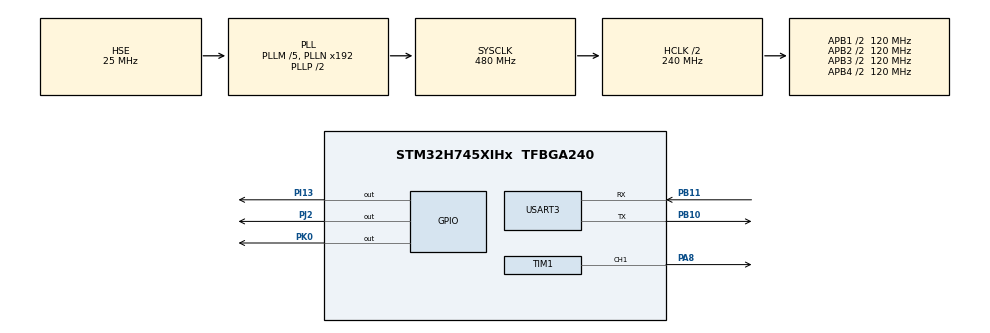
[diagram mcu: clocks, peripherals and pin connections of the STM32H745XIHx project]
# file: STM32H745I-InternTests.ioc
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CORTEX_M7.AccessPermission-Cortex_Memory_Protection_Unit_Region0_Settings=MPU_REGION_FULL_ACCESS
CORTEX_M7.BaseAddress-Cortex_Memory_Protection_Unit_Region0_Settings=0x30000420
CORTEX_M7.CPU_DCache=Enabled
CORTEX_M7.CPU_ICache=Enabled
CORTEX_M7.DisableExec-Cortex_Memory_Protection_Unit_Region0_Settings=MPU_INSTRUCTION_ACCESS_DISABLE
CORTEX_M7.Enable-Cortex_Memory_Protection_Unit_Region0_Settings=MPU_REGION_ENABLE
CORTEX_M7.IsBufferable-Cortex_Memory_Protection_Unit_Region0_Settings=MPU_ACCESS_BUFFERABLE
CORTEX_M7.IsShareable-Cortex_Memory_Protection_Unit_Region0_Settings=MPU_ACCESS_SHAREABLE
CORTEX_M7.MPU_Control=MPU_PRIVILEGED_DEFAULT
CORTEX_M7.Size-Cortex_Memory_Protection_Unit_Region0_Settings=MPU_REGION_SIZE_256MB
CORTEX_M7.SubRegionDisable-Cortex_Memory_Protection_Unit_Region0_Settings=0x0
CortexM4.IPs=FATFS_M4\:I,FREERTOS_M4\:I,IWDG2\:I,RCC,USB_DEVICE_M4\:I,USB_HOST_M4\:I,WWDG2\:I,DMA,BDMA,MDMA,NVIC2\:I,DEBUG,PDM2PCM_M4\:I,PWR,RESMGR_UTILITY,SYS_M4\:I,CORTEX_M4\:I,GPIO,OPENAMP_M4\:I,VREFBUF
CortexM7.IPs=FATFS_M7\:I,FREERTOS_M7\:I,IWDG1\:I,RCC\:I,USB_DEVICE_M7\:I,USB_HOST_M7\:I,WWDG1\:I,DMA\:I,BDMA\:I,MDMA\:I,NVIC1\:I,CORTEX_M7\:I,DEBUG\:I,PDM2PCM_M7\:I,PWR\:I,RESMGR_UTILITY\:I,SYS\:I,GPIO\:I,OPENAMP_M7\:I,VREFBUF\:I,TIM5\:I,USART3\:I,TIM4\:I,TIM1\:I,RTC\:I
CortexM7.Pins=PI13,PJ2
Dma.MEMTOMEM.0.Direction=DMA_MEMORY_TO_MEMORY
Dma.MEMTOMEM.0.EventEnable=DISABLE
Dma.MEMTOMEM.0.FIFOMode=DMA_FIFOMODE_ENABLE
Dma.MEMTOMEM.0.FIFOThreshold=DMA_FIFO_THRESHOLD_FULL
Dma.MEMTOMEM.0.Instance=DMA2_Stream0
Dma.MEMTOMEM.0.MemBurst=DMA_MBURST_SINGLE
Dma.MEMTOMEM.0.MemDataAlignment=DMA_MDATAALIGN_WORD
Dma.MEMTOMEM.0.MemInc=DMA_MINC_ENABLE
Dma.MEMTOMEM.0.Mode=DMA_NORMAL
Dma.MEMTOMEM.0.PeriphBurst=DMA_PBURST_SINGLE
Dma.MEMTOMEM.0.PeriphDataAlignment=DMA_PDATAALIGN_WORD
Dma.MEMTOMEM.0.PeriphInc=DMA_PINC_ENABLE
Dma.MEMTOMEM.0.Polarity=HAL_DMAMUX_REQ_GEN_RISING
Dma.MEMTOMEM.0.Priority=DMA_PRIORITY_HIGH
Dma.MEMTOMEM.0.RequestNumber=1
Dma.MEMTOMEM.0.SignalID=NONE
Dma.MEMTOMEM.0.SyncEnable=DISABLE
Dma.MEMTOMEM.0.SyncPolarity=HAL_DMAMUX_SYNC_NO_EVENT
Dma.MEMTOMEM.0.SyncRequestNumber=1
Dma.MEMTOMEM.0.SyncSignalID=NONE
Dma.MEMTOMEM.1.Direction=DMA_MEMORY_TO_MEMORY
Dma.MEMTOMEM.1.EventEnable=DISABLE
Dma.MEMTOMEM.1.FIFOMode=DMA_FIFOMODE_ENABLE
Dma.MEMTOMEM.1.FIFOThreshold=DMA_FIFO_THRESHOLD_FULL
Dma.MEMTOMEM.1.Instance=DMA2_Stream1
Dma.MEMTOMEM.1.MemBurst=DMA_MBURST_SINGLE
Dma.MEMTOMEM.1.MemDataAlignment=DMA_MDATAALIGN_WORD
Dma.MEMTOMEM.1.MemInc=DMA_MINC_ENABLE
Dma.MEMTOMEM.1.Mode=DMA_NORMAL
Dma.MEMTOMEM.1.PeriphBurst=DMA_PBURST_SINGLE
Dma.MEMTOMEM.1.PeriphDataAlignment=DMA_PDATAALIGN_WORD
Dma.MEMTOMEM.1.PeriphInc=DMA_PINC_ENABLE
Dma.MEMTOMEM.1.Polarity=HAL_DMAMUX_REQ_GEN_RISING
Dma.MEMTOMEM.1.Priority=DMA_PRIORITY_HIGH
Dma.MEMTOMEM.1.RequestNumber=1
Dma.MEMTOMEM.1.SignalID=NONE
Dma.MEMTOMEM.1.SyncEnable=DISABLE
Dma.MEMTOMEM.1.SyncPolarity=HAL_DMAMUX_SYNC_NO_EVENT
Dma.MEMTOMEM.1.SyncRequestNumber=1
Dma.MEMTOMEM.1.SyncSignalID=NONE
Dma.Request0=MEMTOMEM
Dma.Request1=MEMTOMEM
Dma.Request2=TIM1_CH1
Dma.TIM1_CH1.2.Direction=DMA_MEMORY_TO_PERIPH
Dma.TIM1_CH1.2.EventEnable=DISABLE
Dma.TIM1_CH1.2.FIFOMode=DMA_FIFOMODE_DISABLE
Dma.TIM1_CH1.2.Instance=DMA2_Stream2
Dma.TIM1_CH1.2.MemDataAlignment=DMA_MDATAALIGN_HALFWORD
Dma.TIM1_CH1.2.MemInc=DMA_MINC_ENABLE
Dma.TIM1_CH1.2.Mode=DMA_NORMAL
Dma.TIM1_CH1.2.PeriphDataAlignment=DMA_PDATAALIGN_HALFWORD
Dma.TIM1_CH1.2.PeriphInc=DMA_PINC_DISABLE
Dma.TIM1_CH1.2.Polarity=HAL_DMAMUX_REQ_GEN_RISING
Dma.TIM1_CH1.2.Priority=DMA_PRIORITY_LOW
Dma.TIM1_CH1.2.RequestNumber=1
Dma.TIM1_CH1.2.SignalID=NONE
Dma.TIM1_CH1.2.SyncEnable=DISABLE
Dma.TIM1_CH1.2.SyncPolarity=HAL_DMAMUX_SYNC_NO_EVENT
Dma.TIM1_CH1.2.SyncRequestNumber=1
Dma.TIM1_CH1.2.SyncSignalID=NONE
Mcu.Family=STM32H7
Mcu.Name=STM32H745XIHx
Mcu.Package=TFBGA240
NVIC1.DMA2_Stream0_IRQn=true\:0\:0\:false\:false\:true\:true\:true\:true
NVIC1.DMA2_Stream1_IRQn=true\:0\:0\:false\:false\:true\:true\:true\:true
NVIC1.DMA2_Stream2_IRQn=true\:0\:0\:false\:false\:true\:false\:true\:true
NVIC1.PriorityGroup=NVIC_PRIORITYGROUP_4
NVIC1.RTC_Alarm_IRQn=true\:0\:0\:false\:false\:true\:true\:true\:true
NVIC1.TIM1_UP_IRQn=true\:0\:0\:false\:false\:true\:true\:true\:true
NVIC1.TIM4_IRQn=true\:0\:0\:false\:false\:true\:true\:true\:true
NVIC1.TIM5_IRQn=true\:0\:0\:false\:false\:true\:true\:true\:true
NVIC1.USART3_IRQn=true\:0\:0\:false\:false\:true\:true\:true\:true
NVIC2.PriorityGroup=NVIC_PRIORITYGROUP_4
PA8.PinAttribute=CortexM7
PA8.Signal=S_TIM1_CH1
PB10.GPIO_PuPd=GPIO_PULLUP
PB10.Mode=Asynchronous
PB10.PinAttribute=CortexM7
PB10.Signal=USART3_TX
PB11.GPIO_PuPd=GPIO_PULLUP
PB11.Mode=Asynchronous
PB11.PinAttribute=CortexM7
PB11.Signal=USART3_RX
PC14-OSC32_IN\ (OSC32_IN).Mode=LSE-External-Oscillator
PC14-OSC32_IN\ (OSC32_IN).PinAttribute=CortexM7
PC14-OSC32_IN\ (OSC32_IN).Signal=RCC_OSC32_IN
PC15-OSC32_OUT\ (OSC32_OUT).Mode=LSE-External-Oscillator
PC15-OSC32_OUT\ (OSC32_OUT).PinAttribute=CortexM7
PC15-OSC32_OUT\ (OSC32_OUT).Signal=RCC_OSC32_OUT
PH0-OSC_IN\ (PH0).Mode=HSE-External-Oscillator
PH0-OSC_IN\ (PH0).PinAttribute=CortexM7
PH0-OSC_IN\ (PH0).Signal=RCC_OSC_IN
PH1-OSC_OUT\ (PH1).Mode=HSE-External-Oscillator
PH1-OSC_OUT\ (PH1).PinAttribute=CortexM7
PH1-OSC_OUT\ (PH1).Signal=RCC_OSC_OUT
PI13.GPIO_PuPd=GPIO_PULLUP
PI13.PinAttribute=CortexM7
PI13.Signal=GPIO_Output
PJ2.GPIO_PuPd=GPIO_PULLUP
PJ2.PinAttribute=CortexM7
PJ2.Signal=GPIO_Output
PK0.Signal=GPIO_Output
ProjectManager.HeapSize=M4-0x200,M7-0x200
ProjectManager.StackSize=M4-0x400,M7-0x400
ProjectManager.TargetToolchain=STM32CubeIDE
RCC.ADCFreq_Value=50390625
RCC.APB1Freq_Value=120000000
RCC.APB2Freq_Value=120000000
RCC.APB3Freq_Value=120000000
RCC.APB4Freq_Value=120000000
RCC.CortexFreq_Value=480000000
RCC.D1PPRE=RCC_APB3_DIV2
RCC.D2PPRE1=RCC_APB1_DIV2
RCC.D2PPRE2=RCC_APB2_DIV2
RCC.D3PPRE=RCC_APB4_DIV2
RCC.DIVM1=5
RCC.DIVN1=192
RCC.DIVQ1=4
RCC.DIVR1=4
RCC.HCLKFreq_Value=240000000
RCC.HPRE=RCC_HCLK_DIV2
RCC.PLL2FRACN=0
RCC.PLL3FRACN=0
RCC.PLLFRACN=0
RCC.PLLSourceVirtual=RCC_PLLSOURCE_HSE
RCC.PWR_Regulator_Voltage_Scale=PWR_REGULATOR_VOLTAGE_SCALE0
RCC.SYSCLKFreq_VALUE=480000000
RCC.SYSCLKSource=RCC_SYSCLKSOURCE_PLLCLK
RCC.SupplySource=PWR_DIRECT_SMPS_SUPPLY
RCC.USBFreq_Value=240000000
RTC.Alarm-Alarm\ A=RTC_ALARM_A
RTC.AlarmDateWeekDay-Alarm\ A=8
RTC.Date=8
RTC.Hours=16
RTC.Hours_A-Alarm\ A=16
RTC.Minutes=42
RTC.Minutes_A-Alarm\ A=41
RTC.Month=RTC_MONTH_SEPTEMBER
RTC.Seconds=30
RTC.Seconds_A-Alarm\ A=30
RTC.WeekDay=RTC_WEEKDAY_THURSDAY
SH.S_TIM1_CH1.0=TIM1_CH1,PWM Generation1 CH1
TIM1.Channel-PWM\ Generation1\ CH1=TIM_CHANNEL_1
TIM1.Period=100-1
TIM1.Prescaler=240-1
TIM4.Period=5000- 1
TIM4.Prescaler=24000 - 1
TIM5.Period=10000-1
TIM5.Prescaler=24000-1
USART3.VirtualMode-Asynchronous=VM_ASYNC
VP_RTC_VS_RTC_Activate.Mode=RTC_Enabled
VP_RTC_VS_RTC_Alarm_A_Intern.Mode=Alarm A
VP_RTC_VS_RTC_Calendar.Mode=RTC_Calendar
VP_SYS_M4_VS_Systick.Mode=SysTick
VP_TIM1_VS_ClockSourceINT.Mode=Internal
VP_TIM4_VS_ClockSourceINT.Mode=Internal
VP_TIM5_VS_ClockSourceINT.Mode=Internal
board=STM32H745I-DISCO

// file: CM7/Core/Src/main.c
/* USER CODE BEGIN Header */
/**
  ******************************************************************************
  * @file           : main.c
  * @brief          : Main program body
  ******************************************************************************
  * @attention
  *
  * Copyright (c) 2022 STMicroelectronics.
  * All rights reserved.
  *
  * This software is licensed under terms that can be found in the LICENSE file
  * in the root directory of this software component.
  * If no LICENSE file comes with this software, it is provided AS-IS.
  *
  ******************************************************************************
  */
/* USER CODE END Header */
#include "main.h"

/* USER CODE BEGIN Includes */
#include "stdio.h"
#include "string.h"
/* USER CODE END Includes */

/* USER CODE BEGIN PD */
#define MEMSIZE 32

#ifndef HSEM_ID_0
#define HSEM_ID_0 (0U) /* HW semaphore 0*/
#endif
/* USER CODE END PD */

RTC_HandleTypeDef hrtc;

TIM_HandleTypeDef htim1;
TIM_HandleTypeDef htim4;
TIM_HandleTypeDef htim5;
DMA_HandleTypeDef hdma_tim1_ch1;

UART_HandleTypeDef huart3;

DMA_HandleTypeDef hdma_memtomem_dma2_stream0;
DMA_HandleTypeDef hdma_memtomem_dma2_stream1;
/* USER CODE BEGIN PV */
char time[10];
char date[10];
char totalBuffer[50];
uint8_t alarm = 0;
RTC_DateTypeDef gDate;
RTC_TimeTypeDef gTime;
/* USER CODE END PV */

void SystemClock_Config(void);
static void MPU_Config(void);
static void MX_GPIO_Init(void);
static void MX_DMA_Init(void);
static void MX_TIM5_Init(void);
static void MX_USART3_UART_Init(void);
static void MX_TIM4_Init(void);
static void MX_TIM1_Init(void);
static void MX_RTC_Init(void);

/* USER CODE BEGIN 0 */

uint16_t source[MEMSIZE];
uint16_t dest[MEMSIZE];
char name[50];

//__attribute__((section(".TxBuffer"), used)) uint8_t TxBuf[10];

int indx = 1;

__attribute__((section(".TxBuffer"), used)) uint32_t TxBuf[12]; //Source buffer.

__attribute__((section(".RxBuffer"), used)) union rxbuf{ // Destination buffer used as union.
	float Rx2Buf[12];

	uint32_t RxBuf[12];

}RxB;
void DMA2_Stream0_IRQHandler(void)
{
  /* USER CODE BEGIN DMA2_Stream0_IRQn 0 */

	  HAL_GPIO_TogglePin(GPIOI,GPIO_PIN_13);

	  /* Get the RTC current Time*/
	  HAL_RTC_GetTime(&hrtc, &gTime, RTC_FORMAT_BIN);
	  /*Get tge RTC current Date*/
	  HAL_RTC_GetDate(&hrtc, &gDate, RTC_FORMAT_BIN);

	  if(alarm){
		  sprintf((char*)totalBuffer,"FALSE ALARM!\r\n");
		  alarm = 0;
	  }else{
		  sprintf((char*)totalBuffer,"%02d-%02d-%02d %02d:%02d:%02d Turn : %d\r\n",gDate.Date,gDate.Month, 2000 + gDate.Year, gTime.Hours,gTime.Minutes,gTime.Seconds,(int)RxB.RxBuf[0]);
		//  sprintf((char*)totalBuffer,"%02d-%02d-%02d %02d:%02d:%02d\r\n",gDate.Date,gDate.Month, 2022 + gDate.Year, gTime.Hours,gTime.Minutes,gTime.Seconds);
	  }

	  HAL_UART_Transmit(&huart3,(uint8_t *)totalBuffer, strlen(totalBuffer),HAL_MAX_DELAY);

  /* USER CODE END DMA2_Stream0_IRQn 0 */
  HAL_DMA_IRQHandler(&hdma_memtomem_dma2_stream0);
  /* USER CODE BEGIN DMA2_Stream0_IRQn 1 */

  /* USER CODE END DMA2_Stream0_IRQn 1 */
}

void TIM5_IRQHandler(void)
{
  /* USER CODE BEGIN TIM5_IRQn 0 */
  // Counter for making example data.
  TxBuf[0] = indx;
  //DMA reads and writes from SRAM to SRAM4(D3 Domain)
  HAL_DMA_Start_IT(&hdma_memtomem_dma2_stream0, (uint32_t)TxBuf, (uint32_t) RxB.RxBuf, 12);
  indx++;
  HAL_TIM_Base_Start_IT(&htim4);
  /* USER CODE END TIM5_IRQn 0 */
  HAL_TIM_IRQHandler(&htim5);

  /* USER CODE BEGIN TIM5_IRQn 1 */

  /* USER CODE END TIM5_IRQn 1 */
}

void TIM4_IRQHandler(void)
{
  /* USER CODE BEGIN TIM4_IRQn 0 */
	HAL_GPIO_TogglePin(GPIOJ,GPIO_PIN_2);
  /* USER CODE END TIM4_IRQn 0 */
  HAL_TIM_IRQHandler(&htim4);
  /* USER CODE BEGIN TIM4_IRQn 1 */

  /* USER CODE END TIM4_IRQn 1 */
}

// For manuelly setting time
void set_time(void){

	  RTC_TimeTypeDef sTime = {0};
	  RTC_DateTypeDef sDate = {0};

	  sTime.Hours = 0x16;
	  sTime.Minutes = 0x42;
	  sTime.Seconds = 0x30;
	  sTime.DayLightSaving = RTC_DAYLIGHTSAVING_NONE;
	  sTime.StoreOperation = RTC_STOREOPERATION_RESET;
	  if (HAL_RTC_SetTime(&hrtc, &sTime, RTC_FORMAT_BCD) != HAL_OK)
	  {
	    Error_Handler();
	  }
	  sDate.WeekDay = RTC_WEEKDAY_THURSDAY;
	  sDate.Month = RTC_MONTH_SEPTEMBER;
	  sDate.Date = 0x8;
	  sDate.Year = 0x0;
	  if (HAL_RTC_SetDate(&hrtc, &sDate, RTC_FORMAT_BCD) != HAL_OK)
	  {
	    Error_Handler();
	  }
	  /* USER CODE BEGIN Check_RTC_BKUP */

	  /* USER CODE END Check_RTC_BKUP */

}

// For manuelly setting alarm
void set_alarm(void){

	 RTC_AlarmTypeDef sAlarm = {0};

	  /** Enable the Alarm A
	  */
	  sAlarm.AlarmTime.Hours = 0x16;
	  sAlarm.AlarmTime.Minutes = 0x55;
	  sAlarm.AlarmTime.Seconds = 0x30;
	  sAlarm.AlarmTime.SubSeconds = 0x0;
	  sAlarm.AlarmTime.DayLightSaving = RTC_DAYLIGHTSAVING_NONE;
	  sAlarm.AlarmTime.StoreOperation = RTC_STOREOPERATION_RESET;
	  sAlarm.AlarmMask = RTC_ALARMMASK_NONE;
	  sAlarm.AlarmSubSecondMask = RTC_ALARMSUBSECONDMASK_ALL;
	  sAlarm.AlarmDateWeekDaySel = RTC_ALARMDATEWEEKDAYSEL_DATE;
	  sAlarm.AlarmDateWeekDay = 0x8;
	  sAlarm.Alarm = RTC_ALARM_A;
	  if (HAL_RTC_SetAlarm_IT(&hrtc, &sAlarm, RTC_FORMAT_BCD) != HAL_OK)
	  {
	    Error_Handler();
	  }
}

void HAL_RTC_AlarmAEventCallback(RTC_HandleTypeDef *hrtc){
	alarm = 1;
}
//void get_time(void){
//	RTC_DateTypeDef gDate;
//	RTC_TimeTypeDef gTime;
//
//	/* Get the RTC current Time*/
//	HAL_RTC_GetTime(&hrtc, &gTime, RTC_FORMAT_BIN);
//	/*Get tge RTC current Date*/
//	HAL_RTC_GetDate(&hrtc, &gDate, RTC_FORMAT_BIN);
//
//	/*Display time Format: hh:mm:ss*/
//	sprintf((char*)time,"%02d:%02d:%02d",gTime.Hours,gTime.Minutes,gTime.Seconds);
//
//	/*Display date Format: dd-mm-yy */
//	sprintf((char*)date,"%02d-%02d-%02d",gDate.Date,gDate.Month,2000 + gDate.Year);
//}
/* USER CODE END 0 */

int main(void)
{
/* USER CODE BEGIN Boot_Mode_Sequence_0 */
//  int32_t timeout;

/* USER CODE END Boot_Mode_Sequence_0 */

  /* MPU Configuration--------------------------------------------------------*/
  MPU_Config();

  /* Enable I-Cache---------------------------------------------------------*/
  SCB_EnableICache();

  /* Enable D-Cache---------------------------------------------------------*/
  SCB_EnableDCache();

/* USER CODE BEGIN Boot_Mode_Sequence_1 */

   /* Wait until CPU2 boots and enters in stop mode or timeout */

 /*
  timeout = 0xFFFF;
  while((__HAL_RCC_GET_FLAG(RCC_FLAG_D2CKRDY) != RESET) && (timeout-- > 0));
  if ( timeout < 0 )
  {
  Error_Handler();
  }
*/
/* USER CODE END Boot_Mode_Sequence_1 */
  /* MCU Configuration--------------------------------------------------------*/

  /* Reset of all peripherals, Initializes the Flash interface and the Systick. */
  HAL_Init();

  /* Configure the system clock */
  SystemClock_Config();
/* USER CODE BEGIN Boot_Mode_Sequence_2 */
/* When system initialization is finished, Cortex-M7 will release Cortex-M4 by means of
HSEM notification */
/*HW semaphore Clock enable*/

// __HAL_RCC_HSEM_CLK_ENABLE();
///*Take HSEM */
//HAL_HSEM_FastTake(HSEM_ID_0);
///*Release HSEM in order to notify the CPU2(CM4)*/
//HAL_HSEM_Release(HSEM_ID_0,0);
///* wait until CPU2 wakes up from stop mode */
//timeout = 0xFFFF;
//while((__HAL_RCC_GET_FLAG(RCC_FLAG_D2CKRDY) == RESET) && (timeout-- > 0));
//if ( timeout < 0 )
//{
//Error_Handler();
//}

/* USER CODE END Boot_Mode_Sequence_2 */

  /* Initialize all configured peripherals */
  MX_GPIO_Init();
  MX_DMA_Init();
  MX_TIM5_Init();
  MX_USART3_UART_Init();
  MX_TIM4_Init();
  MX_TIM1_Init();
  MX_RTC_Init();
  /* USER CODE BEGIN 2 */

  if( HAL_RTCEx_BKUPRead(&hrtc, RTC_BKP_DR0)!= 0x32F2){
	  set_time();
  }
  set_alarm();

  HAL_TIM_Base_Start_IT(&htim5);

//  TIM1->CCR1 = 50;
//  HAL_TIM_PWM_Start(&htim1,TIM_CHANNEL_1);

  /* USER CODE END 2 */

  /* Infinite loop */
  while (1)
  {

    /* USER CODE BEGIN 3 */

	 // Commented for further experiments.

	 // Turns on and off the led on I13.
	 // HAL_GPIO_TogglePin(GPIOI,GPIO_PIN_13);

//	 // CPU writes to the SRAM where TxBuf in it.
//	 TxBuf[0] = indx;
//	// memset(TxBuf,indx,48); // memset is not working properly for uint32_t TxBuf. So I assigned indx to 0th index of TxBuf.
//
//	// SCB_CleanDCache_by_Addr((uint32_t *)TxBuf,10); // Without mpu this piece of code cleances D Cache.
//
//	 //DMA reads and writes from SRAM to SRAM4(D3 Domain)
//	 HAL_DMA_Start(&hdma_memtomem_dma2_stream0, (uint32_t)TxBuf, (uint32_t) RxB.RxBuf, 12);
//
//	 // This piece of code invalidate D Cache for 10 block of ram to rewrite.
//	 //SCB_InvalidateDCache_by_Addr((uint32_t *) RxBuf,10);
//
//	 //UART Transmit
//	 //RxBuf[0] and some string contains in buf2 char array.
//	 sprintf(buf2,"Turn : %d\r\n", (int)RxB.RxBuf[0]);
//	 HAL_UART_Transmit(&huart3,(uint8_t *)buf2, strlen(buf2),HAL_MAX_DELAY);
//
//	 //Aborts DMA transmit
//	 HAL_DMA_Abort(&hdma_memtomem_dma2_stream0);
//
////	 strcpy((char*)buf, "Hello!\r\n");
////	 HAL_UART_Transmit(&huart3,buf,strlen((char*)buf),HAL_MAX_DELAY);
//
//
//	 indx++; // Counter for making example data.
//
//
//	 HAL_Delay(1000); // Creates 1 second delay.

  }
  /* USER CODE END 3 */
}

void SystemClock_Config(void)
{
  RCC_OscInitTypeDef RCC_OscInitStruct = {0};
  RCC_ClkInitTypeDef RCC_ClkInitStruct = {0};

  /** Supply configuration update enable
  */
  HAL_PWREx_ConfigSupply(PWR_DIRECT_SMPS_SUPPLY);

  /** Configure the main internal regulator output voltage
  */
  __HAL_PWR_VOLTAGESCALING_CONFIG(PWR_REGULATOR_VOLTAGE_SCALE0);

  while(!__HAL_PWR_GET_FLAG(PWR_FLAG_VOSRDY)) {}

  /** Initializes the RCC Oscillators according to the specified parameters
  * in the RCC_OscInitTypeDef structure.
  */
  RCC_OscInitStruct.OscillatorType = RCC_OSCILLATORTYPE_LSI|RCC_OSCILLATORTYPE_HSE;
  RCC_OscInitStruct.HSEState = RCC_HSE_ON;
  RCC_OscInitStruct.LSIState = RCC_LSI_ON;
  RCC_OscInitStruct.PLL.PLLState = RCC_PLL_ON;
  RCC_OscInitStruct.PLL.PLLSource = RCC_PLLSOURCE_HSE;
  RCC_OscInitStruct.PLL.PLLM = 5;
  RCC_OscInitStruct.PLL.PLLN = 192;
  RCC_OscInitStruct.PLL.PLLP = 2;
  RCC_OscInitStruct.PLL.PLLQ = 4;
  RCC_OscInitStruct.PLL.PLLR = 4;
  RCC_OscInitStruct.PLL.PLLRGE = RCC_PLL1VCIRANGE_2;
  RCC_OscInitStruct.PLL.PLLVCOSEL = RCC_PLL1VCOWIDE;
  RCC_OscInitStruct.PLL.PLLFRACN = 0;
  if (HAL_RCC_OscConfig(&RCC_OscInitStruct) != HAL_OK)
  {
    Error_Handler();
  }

  /** Initializes the CPU, AHB and APB buses clocks
  */
  RCC_ClkInitStruct.ClockType = RCC_CLOCKTYPE_HCLK|RCC_CLOCKTYPE_SYSCLK
                              |RCC_CLOCKTYPE_PCLK1|RCC_CLOCKTYPE_PCLK2
                              |RCC_CLOCKTYPE_D3PCLK1|RCC_CLOCKTYPE_D1PCLK1;
  RCC_ClkInitStruct.SYSCLKSource = RCC_SYSCLKSOURCE_PLLCLK;
  RCC_ClkInitStruct.SYSCLKDivider = RCC_SYSCLK_DIV1;
  RCC_ClkInitStruct.AHBCLKDivider = RCC_HCLK_DIV2;
  RCC_ClkInitStruct.APB3CLKDivider = RCC_APB3_DIV2;
  RCC_ClkInitStruct.APB1CLKDivider = RCC_APB1_DIV2;
  RCC_ClkInitStruct.APB2CLKDivider = RCC_APB2_DIV2;
  RCC_ClkInitStruct.APB4CLKDivider = RCC_APB4_DIV2;

  if (HAL_RCC_ClockConfig(&RCC_ClkInitStruct, FLASH_LATENCY_4) != HAL_OK)
  {
    Error_Handler();
  }
}

static void MX_RTC_Init(void)
{

//  RTC_TimeTypeDef sTime = {0};
//  RTC_DateTypeDef sDate = {0};
//  RTC_AlarmTypeDef sAlarm = {0};

  /** Initialize RTC Only
  */
  hrtc.Instance = RTC;
  hrtc.Init.HourFormat = RTC_HOURFORMAT_24;
  hrtc.Init.AsynchPrediv = 127;
  hrtc.Init.SynchPrediv = 255;
  hrtc.Init.OutPut = RTC_OUTPUT_DISABLE;
  hrtc.Init.OutPutPolarity = RTC_OUTPUT_POLARITY_HIGH;
  hrtc.Init.OutPutType = RTC_OUTPUT_TYPE_OPENDRAIN;
  hrtc.Init.OutPutRemap = RTC_OUTPUT_REMAP_NONE;
  if((RCC->BDCR & RCC_BDCR_RTCEN)==0){
	  if (HAL_RTC_Init(&hrtc) != HAL_OK)
	  {
	    Error_Handler();
	  }
  }

  /* USER CODE BEGIN Check_RTC_BKUP */
  HAL_RTCEx_BKUPWrite(&hrtc,RTC_BKP_DR0,0x32F2);
  /* USER CODE END Check_RTC_BKUP */

  /** Initialize RTC and set the Time and Date
  */

  /** Enable the Alarm A
  */
//  sAlarm.AlarmTime.Hours = 0x16;
//  sAlarm.AlarmTime.Minutes = 0x41;
//  sAlarm.AlarmTime.Seconds = 0x30;
//  sAlarm.AlarmTime.SubSeconds = 0x0;
//  sAlarm.AlarmTime.DayLightSaving = RTC_DAYLIGHTSAVING_NONE;
//  sAlarm.AlarmTime.StoreOperation = RTC_STOREOPERATION_RESET;
//  sAlarm.AlarmMask = RTC_ALARMMASK_NONE;
//  sAlarm.AlarmSubSecondMask = RTC_ALARMSUBSECONDMASK_ALL;
//  sAlarm.AlarmDateWeekDaySel = RTC_ALARMDATEWEEKDAYSEL_DATE;
//  sAlarm.AlarmDateWeekDay = 0x8;
//  sAlarm.Alarm = RTC_ALARM_A;
//  if (HAL_RTC_SetAlarm_IT(&hrtc, &sAlarm, RTC_FORMAT_BCD) != HAL_OK)
//  {
//    Error_Handler();
//  }

}

static void MX_TIM1_Init(void)
{

  TIM_ClockConfigTypeDef sClockSourceConfig = {0};
  TIM_MasterConfigTypeDef sMasterConfig = {0};
  TIM_OC_InitTypeDef sConfigOC = {0};
  TIM_BreakDeadTimeConfigTypeDef sBreakDeadTimeConfig = {0};

  htim1.Instance = TIM1;
  htim1.Init.Prescaler = 240-1;
  htim1.Init.CounterMode = TIM_COUNTERMODE_UP;
  htim1.Init.Period = 100-1;
  htim1.Init.ClockDivision = TIM_CLOCKDIVISION_DIV1;
  htim1.Init.RepetitionCounter = 0;
  htim1.Init.AutoReloadPreload = TIM_AUTORELOAD_PRELOAD_DISABLE;
  if (HAL_TIM_Base_Init(&htim1) != HAL_OK)
  {
    Error_Handler();
  }
  sClockSourceConfig.ClockSource = TIM_CLOCKSOURCE_INTERNAL;
  if (HAL_TIM_ConfigClockSource(&htim1, &sClockSourceConfig) != HAL_OK)
  {
    Error_Handler();
  }
  if (HAL_TIM_PWM_Init(&htim1) != HAL_OK)
  {
    Error_Handler();
  }
  sMasterConfig.MasterOutputTrigger = TIM_TRGO_RESET;
  sMasterConfig.MasterOutputTrigger2 = TIM_TRGO2_RESET;
  sMasterConfig.MasterSlaveMode = TIM_MASTERSLAVEMODE_DISABLE;
  if (HAL_TIMEx_MasterConfigSynchronization(&htim1, &sMasterConfig) != HAL_OK)
  {
    Error_Handler();
  }
  sConfigOC.OCMode = TIM_OCMODE_PWM1;
  sConfigOC.Pulse = 0;
  sConfigOC.OCPolarity = TIM_OCPOLARITY_HIGH;
  sConfigOC.OCNPolarity = TIM_OCNPOLARITY_HIGH;
  sConfigOC.OCFastMode = TIM_OCFAST_DISABLE;
  sConfigOC.OCIdleState = TIM_OCIDLESTATE_RESET;
  sConfigOC.OCNIdleState = TIM_OCNIDLESTATE_RESET;
  if (HAL_TIM_PWM_ConfigChannel(&htim1, &sConfigOC, TIM_CHANNEL_1) != HAL_OK)
  {
    Error_Handler();
  }
  sBreakDeadTimeConfig.OffStateRunMode = TIM_OSSR_DISABLE;
  sBreakDeadTimeConfig.OffStateIDLEMode = TIM_OSSI_DISABLE;
  sBreakDeadTimeConfig.LockLevel = TIM_LOCKLEVEL_OFF;
  sBreakDeadTimeConfig.DeadTime = 0;
  sBreakDeadTimeConfig.BreakState = TIM_BREAK_DISABLE;
  sBreakDeadTimeConfig.BreakPolarity = TIM_BREAKPOLARITY_HIGH;
  sBreakDeadTimeConfig.BreakFilter = 0;
  sBreakDeadTimeConfig.Break2State = TIM_BREAK2_DISABLE;
  sBreakDeadTimeConfig.Break2Polarity = TIM_BREAK2POLARITY_HIGH;
  sBreakDeadTimeConfig.Break2Filter = 0;
  sBreakDeadTimeConfig.AutomaticOutput = TIM_AUTOMATICOUTPUT_DISABLE;
  if (HAL_TIMEx_ConfigBreakDeadTime(&htim1, &sBreakDeadTimeConfig) != HAL_OK)
  {
    Error_Handler();
  }
  HAL_TIM_MspPostInit(&htim1);

}

static void MX_TIM4_Init(void)
{

  TIM_ClockConfigTypeDef sClockSourceConfig = {0};
  TIM_MasterConfigTypeDef sMasterConfig = {0};

  htim4.Instance = TIM4;
  htim4.Init.Prescaler = 24000 - 1;
  htim4.Init.CounterMode = TIM_COUNTERMODE_UP;
  htim4.Init.Period = 5000- 1;
  htim4.Init.ClockDivision = TIM_CLOCKDIVISION_DIV1;
  htim4.Init.AutoReloadPreload = TIM_AUTORELOAD_PRELOAD_DISABLE;
  if (HAL_TIM_Base_Init(&htim4) != HAL_OK)
  {
    Error_Handler();
  }
  sClockSourceConfig.ClockSource = TIM_CLOCKSOURCE_INTERNAL;
  if (HAL_TIM_ConfigClockSource(&htim4, &sClockSourceConfig) != HAL_OK)
  {
    Error_Handler();
  }
  sMasterConfig.MasterOutputTrigger = TIM_TRGO_RESET;
  sMasterConfig.MasterSlaveMode = TIM_MASTERSLAVEMODE_DISABLE;
  if (HAL_TIMEx_MasterConfigSynchronization(&htim4, &sMasterConfig) != HAL_OK)
  {
    Error_Handler();
  }

}

static void MX_TIM5_Init(void)
{

  TIM_ClockConfigTypeDef sClockSourceConfig = {0};
  TIM_MasterConfigTypeDef sMasterConfig = {0};

  htim5.Instance = TIM5;
  htim5.Init.Prescaler = 24000-1;
  htim5.Init.CounterMode = TIM_COUNTERMODE_UP;
  htim5.Init.Period = 10000-1;
  htim5.Init.ClockDivision = TIM_CLOCKDIVISION_DIV1;
  htim5.Init.AutoReloadPreload = TIM_AUTORELOAD_PRELOAD_DISABLE;
  if (HAL_TIM_Base_Init(&htim5) != HAL_OK)
  {
    Error_Handler();
  }
  sClockSourceConfig.ClockSource = TIM_CLOCKSOURCE_INTERNAL;
  if (HAL_TIM_ConfigClockSource(&htim5, &sClockSourceConfig) != HAL_OK)
  {
    Error_Handler();
  }
  sMasterConfig.MasterOutputTrigger = TIM_TRGO_RESET;
  sMasterConfig.MasterSlaveMode = TIM_MASTERSLAVEMODE_DISABLE;
  if (HAL_TIMEx_MasterConfigSynchronization(&htim5, &sMasterConfig) != HAL_OK)
  {
    Error_Handler();
  }

}

static void MX_USART3_UART_Init(void)
{

  huart3.Instance = USART3;
  huart3.Init.BaudRate = 115200;
  huart3.Init.WordLength = UART_WORDLENGTH_8B;
  huart3.Init.StopBits = UART_STOPBITS_1;
  huart3.Init.Parity = UART_PARITY_NONE;
  huart3.Init.Mode = UART_MODE_TX_RX;
  huart3.Init.HwFlowCtl = UART_HWCONTROL_NONE;
  huart3.Init.OverSampling = UART_OVERSAMPLING_16;
  huart3.Init.OneBitSampling = UART_ONE_BIT_SAMPLE_DISABLE;
  huart3.Init.ClockPrescaler = UART_PRESCALER_DIV1;
  huart3.AdvancedInit.AdvFeatureInit = UART_ADVFEATURE_NO_INIT;
  if (HAL_UART_Init(&huart3) != HAL_OK)
  {
    Error_Handler();
  }
  if (HAL_UARTEx_SetTxFifoThreshold(&huart3, UART_TXFIFO_THRESHOLD_1_8) != HAL_OK)
  {
    Error_Handler();
  }
  if (HAL_UARTEx_SetRxFifoThreshold(&huart3, UART_RXFIFO_THRESHOLD_1_8) != HAL_OK)
  {
    Error_Handler();
  }
  if (HAL_UARTEx_DisableFifoMode(&huart3) != HAL_OK)
  {
    Error_Handler();
  }

}

static void MX_DMA_Init(void)
{

  /* DMA controller clock enable */
  __HAL_RCC_DMA2_CLK_ENABLE();

  /* Configure DMA request hdma_memtomem_dma2_stream0 on DMA2_Stream0 */
  hdma_memtomem_dma2_stream0.Instance = DMA2_Stream0;
  hdma_memtomem_dma2_stream0.Init.Request = DMA_REQUEST_MEM2MEM;
  hdma_memtomem_dma2_stream0.Init.Direction = DMA_MEMORY_TO_MEMORY;
  hdma_memtomem_dma2_stream0.Init.PeriphInc = DMA_PINC_ENABLE;
  hdma_memtomem_dma2_stream0.Init.MemInc = DMA_MINC_ENABLE;
  hdma_memtomem_dma2_stream0.Init.PeriphDataAlignment = DMA_PDATAALIGN_WORD;
  hdma_memtomem_dma2_stream0.Init.MemDataAlignment = DMA_MDATAALIGN_WORD;
  hdma_memtomem_dma2_stream0.Init.Mode = DMA_NORMAL;
  hdma_memtomem_dma2_stream0.Init.Priority = DMA_PRIORITY_HIGH;
  hdma_memtomem_dma2_stream0.Init.FIFOMode = DMA_FIFOMODE_ENABLE;
  hdma_memtomem_dma2_stream0.Init.FIFOThreshold = DMA_FIFO_THRESHOLD_FULL;
  hdma_memtomem_dma2_stream0.Init.MemBurst = DMA_MBURST_SINGLE;
  hdma_memtomem_dma2_stream0.Init.PeriphBurst = DMA_PBURST_SINGLE;
  if (HAL_DMA_Init(&hdma_memtomem_dma2_stream0) != HAL_OK)
  {
    Error_Handler( );
  }

  /* Configure DMA request hdma_memtomem_dma2_stream1 on DMA2_Stream1 */
  hdma_memtomem_dma2_stream1.Instance = DMA2_Stream1;
  hdma_memtomem_dma2_stream1.Init.Request = DMA_REQUEST_MEM2MEM;
  hdma_memtomem_dma2_stream1.Init.Direction = DMA_MEMORY_TO_MEMORY;
  hdma_memtomem_dma2_stream1.Init.PeriphInc = DMA_PINC_ENABLE;
  hdma_memtomem_dma2_stream1.Init.MemInc = DMA_MINC_ENABLE;
  hdma_memtomem_dma2_stream1.Init.PeriphDataAlignment = DMA_PDATAALIGN_WORD;
  hdma_memtomem_dma2_stream1.Init.MemDataAlignment = DMA_MDATAALIGN_WORD;
  hdma_memtomem_dma2_stream1.Init.Mode = DMA_NORMAL;
  hdma_memtomem_dma2_stream1.Init.Priority = DMA_PRIORITY_HIGH;
  hdma_memtomem_dma2_stream1.Init.FIFOMode = DMA_FIFOMODE_ENABLE;
  hdma_memtomem_dma2_stream1.Init.FIFOThreshold = DMA_FIFO_THRESHOLD_FULL;
  hdma_memtomem_dma2_stream1.Init.MemBurst = DMA_MBURST_SINGLE;
  hdma_memtomem_dma2_stream1.Init.PeriphBurst = DMA_PBURST_SINGLE;
  if (HAL_DMA_Init(&hdma_memtomem_dma2_stream1) != HAL_OK)
  {
    Error_Handler( );
  }

  /* DMA interrupt init */
  /* DMA2_Stream0_IRQn interrupt configuration */
  HAL_NVIC_SetPriority(DMA2_Stream0_IRQn, 0, 0);
  HAL_NVIC_EnableIRQ(DMA2_Stream0_IRQn);
  /* DMA2_Stream1_IRQn interrupt configuration */
  HAL_NVIC_SetPriority(DMA2_Stream1_IRQn, 0, 0);
  HAL_NVIC_EnableIRQ(DMA2_Stream1_IRQn);
  /* DMA2_Stream2_IRQn interrupt configuration */
  HAL_NVIC_SetPriority(DMA2_Stream2_IRQn, 0, 0);
  HAL_NVIC_EnableIRQ(DMA2_Stream2_IRQn);

}

static void MX_GPIO_Init(void)
{
  GPIO_InitTypeDef GPIO_InitStruct = {0};

  /* GPIO Ports Clock Enable */
  __HAL_RCC_GPIOC_CLK_ENABLE();
  __HAL_RCC_GPIOA_CLK_ENABLE();
  __HAL_RCC_GPIOI_CLK_ENABLE();
  __HAL_RCC_GPIOH_CLK_ENABLE();
  __HAL_RCC_GPIOB_CLK_ENABLE();
  __HAL_RCC_GPIOJ_CLK_ENABLE();

  /*Configure GPIO pin Output Level */
  HAL_GPIO_WritePin(GPIOI, GPIO_PIN_13, GPIO_PIN_RESET);

  /*Configure GPIO pin Output Level */
  HAL_GPIO_WritePin(GPIOJ, GPIO_PIN_2, GPIO_PIN_RESET);

  /*Configure GPIO pin : PI13 */
  GPIO_InitStruct.Pin = GPIO_PIN_13;
  GPIO_InitStruct.Mode = GPIO_MODE_OUTPUT_PP;
  GPIO_InitStruct.Pull = GPIO_PULLUP;
  GPIO_InitStruct.Speed = GPIO_SPEED_FREQ_LOW;
  HAL_GPIO_Init(GPIOI, &GPIO_InitStruct);

  /*Configure GPIO pin : PJ2 */
  GPIO_InitStruct.Pin = GPIO_PIN_2;
  GPIO_InitStruct.Mode = GPIO_MODE_OUTPUT_PP;
  GPIO_InitStruct.Pull = GPIO_PULLUP;
  GPIO_InitStruct.Speed = GPIO_SPEED_FREQ_LOW;
  HAL_GPIO_Init(GPIOJ, &GPIO_InitStruct);

}

/* MPU Configuration */

void MPU_Config(void)
{
  MPU_Region_InitTypeDef MPU_InitStruct = {0};

  /* Disables the MPU */
  HAL_MPU_Disable();

  /** Initializes and configures the Region and the memory to be protected
  */
  MPU_InitStruct.Enable = MPU_REGION_ENABLE;
  MPU_InitStruct.Number = MPU_REGION_NUMBER0;
  MPU_InitStruct.BaseAddress = 0x30000420;
  MPU_InitStruct.Size = MPU_REGION_SIZE_256MB;
  MPU_InitStruct.SubRegionDisable = 0x0;
  MPU_InitStruct.TypeExtField = MPU_TEX_LEVEL0;
  MPU_InitStruct.AccessPermission = MPU_REGION_FULL_ACCESS;
  MPU_InitStruct.DisableExec = MPU_INSTRUCTION_ACCESS_DISABLE;
  MPU_InitStruct.IsShareable = MPU_ACCESS_SHAREABLE;
  MPU_InitStruct.IsCacheable = MPU_ACCESS_NOT_CACHEABLE;
  MPU_InitStruct.IsBufferable = MPU_ACCESS_BUFFERABLE;

  HAL_MPU_ConfigRegion(&MPU_InitStruct);
  /* Enables the MPU */
  HAL_MPU_Enable(MPU_PRIVILEGED_DEFAULT);

}

void Error_Handler(void)
{
  __disable_irq();
  while (1)
  {
  }
}
